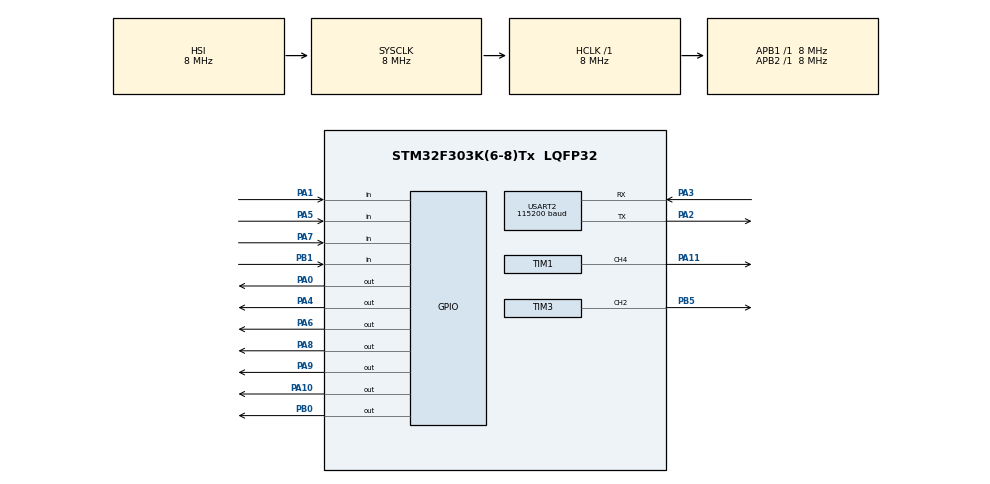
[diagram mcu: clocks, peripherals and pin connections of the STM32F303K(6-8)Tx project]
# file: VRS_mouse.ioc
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Mcu.Family=STM32F3
Mcu.Name=STM32F303K(6-8)Tx
Mcu.Package=LQFP32
NVIC.PriorityGroup=NVIC_PRIORITYGROUP_4
PA0.Signal=GPIO_Output
PA1.Signal=GPIO_Input
PA10.Signal=GPIO_Output
PA11.Signal=S_TIM1_CH4
PA2.Mode=Asynchronous
PA2.Signal=USART2_TX
PA3.Mode=Asynchronous
PA3.Signal=USART2_RX
PA4.Signal=GPIO_Output
PA5.Signal=GPIO_Input
PA6.Signal=GPIO_Output
PA7.Signal=GPIO_Input
PA8.Signal=GPIO_Output
PA9.Signal=GPIO_Output
PB0.Signal=GPIO_Output
PB1.Signal=GPIO_Input
PB5.Signal=S_TIM3_CH2
ProjectManager.HeapSize=0x200
ProjectManager.StackSize=0x400
ProjectManager.TargetToolchain=STM32CubeIDE
RCC.AHBFreq_Value=8000000
RCC.APB1Freq_Value=8000000
RCC.APB2Freq_Value=8000000
RCC.CortexFreq_Value=8000000
RCC.HSE_VALUE=8000000
RCC.HSI_VALUE=8000000
RCC.SYSCLKFreq_VALUE=8000000
SH.S_TIM1_CH4.0=TIM1_CH4,PWM Generation4 CH4
SH.S_TIM3_CH2.0=TIM3_CH2,PWM Generation2 CH2
TIM1.Channel-PWM\ Generation4\ CH4=TIM_CHANNEL_4
TIM1.Period=1999
TIM1.Prescaler=79
TIM3.Channel-PWM\ Generation2\ CH2=TIM_CHANNEL_2
TIM3.Period=1999
TIM3.Prescaler=79
TIM3.Pulse-PWM\ Generation2\ CH2=150
USART2.BaudRate=115200
USART2.VirtualMode-Asynchronous=VM_ASYNC
board=custom

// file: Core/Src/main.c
/* USER CODE BEGIN Header */
/**
  ******************************************************************************
  * @file           : main.c
  * @brief          : Main program body
  ******************************************************************************
  * @attention
  *
  * Copyright (c) 2026 STMicroelectronics.
  * All rights reserved.
  *
  * This software is licensed under terms that can be found in the LICENSE file
  * in the root directory of this software component.
  * If no LICENSE file comes with this software, it is provided AS-IS.
  *
  ******************************************************************************
  */
/* USER CODE END Header */
#include "main.h"
#include "tim.h"
#include "usart.h"
#include "gpio.h"

/* USER CODE BEGIN Includes */
#include <stdio.h>
#include <stdlib.h>
/* USER CODE END Includes */

/* USER CODE BEGIN PTD */
typedef struct {
    GPIO_TypeDef* trig_port;
    uint16_t      trig_pin;
    GPIO_TypeDef* echo_port;
    uint16_t      echo_pin;
} HCSR04_t;
/* USER CODE END PTD */

/* USER CODE BEGIN PD */

#define LEFT_FW 170 // SERVO_CCW
#define LEFT_FW_SLOW 155
#define LEFT_STOP	149
#define LEFT_BW_SLOW 145
#define LEFT_BW 130 // SERVO_CW

#define RIGHT_FW 130
#define RIGHT_FW_SLOW 145
#define RIGHT_STOP 	150
#define RIGHT_BW_SLOW 155
#define RIGHT_BW 170

#define LED_PORT GPIOA
#define LED_PIN_R GPIO_PIN_8
#define LED_PIN_G GPIO_PIN_9
#define LED_PIN_B GPIO_PIN_10
/* USER CODE END PD */

/* USER CODE BEGIN PV */
typedef enum  {
	CAR_WANDER_FW, CAR_WANDER_TURN, CAR_TURNING_LEFT, CAR_TURNING_RIGHT, CAR_ESCAPE
} car_state;

typedef enum {
	ENV_NONE, ENV_OBSTACLE_FRONT, ENV_OBSTACLE_LEFT, ENV_OBSTACLE_RIGHT, ENV_OBSTACLE_BACK
} env_state;
/* USER CODE END PV */

void SystemClock_Config(void);
/* USER CODE BEGIN PFP */
uint32_t hcsr04_measure_cm(HCSR04_t* s);
void motors_stop();
void motors_turn_left();
void motors_turn_right();
void motors_forward_fast();
void motors_forward_slow();
void set_led_rgb(uint8_t r, uint8_t g, uint8_t b);
env_state classify_env(uint32_t *dist);
/* USER CODE END PFP */

/* USER CODE BEGIN 0 */
HCSR04_t sensors[4] = {
//TRIG_PORT, TRIG_PIN, ECHO_PORT, ECHO_PIN
    {GPIOA, GPIO_PIN_0, GPIOA, GPIO_PIN_1}, // Right sensor 1
    {GPIOA, GPIO_PIN_4, GPIOA, GPIO_PIN_5}, // Left sensor 2
    {GPIOA, GPIO_PIN_6, GPIOA, GPIO_PIN_7}, // Front sensor 3
    {GPIOB, GPIO_PIN_0, GPIOB, GPIO_PIN_1}  // Back sensor 4
};
/* USER CODE END 0 */

int main(void)
{

  /* MCU Configuration--------------------------------------------------------*/

  /* Reset of all peripherals, Initializes the Flash interface and the Systick. */
  HAL_Init();

  /* USER CODE BEGIN Init */
  // random seed for wandering behaviour
  srand(HAL_GetTick());
  /* USER CODE END Init */

  /* Configure the system clock */
  SystemClock_Config();

  /* Initialize all configured peripherals */
  MX_GPIO_Init();
  MX_USART2_UART_Init();
  MX_TIM3_Init();
  MX_TIM1_Init();
  /* USER CODE BEGIN 2 */
  HAL_TIM_PWM_Start(&htim1, TIM_CHANNEL_4); // right motor
  HAL_TIM_PWM_Start(&htim3, TIM_CHANNEL_2);// left motor
  if (!(CoreDebug->DEMCR & CoreDebug_DEMCR_TRCENA_Msk))
  	    CoreDebug->DEMCR |= CoreDebug_DEMCR_TRCENA_Msk;
  	DWT->CYCCNT = 0;
  	DWT->CTRL |= DWT_CTRL_CYCCNTENA_Msk;
  printf("UART debug ready!\r\n");

  // stop
  __HAL_TIM_SET_COMPARE(&htim1, TIM_CHANNEL_4, RIGHT_STOP);
  __HAL_TIM_SET_COMPARE(&htim3, TIM_CHANNEL_2, LEFT_STOP);
  HAL_Delay(1000);

  // go forward
  __HAL_TIM_SET_COMPARE(&htim1, TIM_CHANNEL_4, RIGHT_FW);
  __HAL_TIM_SET_COMPARE(&htim3, TIM_CHANNEL_2, LEFT_FW);
  HAL_Delay(2000);

  // stop
  __HAL_TIM_SET_COMPARE(&htim1, TIM_CHANNEL_4, RIGHT_STOP);
  __HAL_TIM_SET_COMPARE(&htim3, TIM_CHANNEL_2, LEFT_STOP);

  // Initialize states
  car_state c_state = CAR_WANDER_FW;
  env_state env = ENV_NONE;

  uint32_t last_wander_tick = HAL_GetTick();
  uint32_t wander_interval = 2000; // 2s
  int wander_direction = 0;        // 0 = Left, 1 = Right
  int obstacle_confidence = 0;

  /* USER CODE END 2 */

  /* Infinite loop */
  /* USER CODE BEGIN WHILE */
  while (1)
  {

	uint32_t dist[4];

	// measure distance from sensors
	for (int i = 0; i < 4; i++)
	{
	  dist[i] = hcsr04_measure_cm(&sensors[i]);
	  printf("Sensor %d: %lu cm\r\n", i + 1, dist[i]); // log to serial port
	  HAL_Delay(5);
	}
	printf("----\r\n");
	//HAL_Delay(100);

	// assign environment state based on measurements
	env_state detected_env = classify_env(dist);
	if (detected_env != ENV_NONE) {
	    obstacle_confidence++;
	} else {
	    obstacle_confidence = 0; // Reset if the path is clear
	}

	if (obstacle_confidence >= 3) { // Only change state if seen 3 times
	    env = detected_env;
	} else {
	    env = ENV_NONE;
	}

	// movement behaviour
	switch (env){
		case ENV_NONE:
			if(c_state == CAR_ESCAPE)
			{
				c_state = CAR_WANDER_FW;
				last_wander_tick = HAL_GetTick();
			}
			if (c_state == CAR_WANDER_FW || c_state == CAR_WANDER_TURN)
			{
				if ((HAL_GetTick() - last_wander_tick) > wander_interval)
				{
					last_wander_tick = HAL_GetTick();

					if (c_state == CAR_WANDER_FW) {
						// Switch to Turning
						c_state = CAR_WANDER_TURN;
						wander_interval = 300 + (rand() % 500);
						wander_direction = rand() % 2;
					}
					else {
						// Switch back to Forward
						c_state = CAR_WANDER_FW;
						wander_interval = 1000 + (rand() % 2000);
					}
				}
			}
			break;
		case ENV_OBSTACLE_FRONT:
			c_state = CAR_TURNING_LEFT;
			break;
		case ENV_OBSTACLE_LEFT:
			c_state = CAR_TURNING_RIGHT;
			break;
		case ENV_OBSTACLE_RIGHT:
			c_state = CAR_TURNING_LEFT;
			break;
		case ENV_OBSTACLE_BACK:
			c_state = CAR_ESCAPE;
			break;
		default:
			motors_stop();
			break;
	}
	// control motors based on the envirnment
	switch (c_state){
		case CAR_TURNING_LEFT:
			motors_turn_left();
			set_led_rgb(1, 1, 0); // yellow for turning
			break;
		case CAR_TURNING_RIGHT:
			motors_turn_right();
			set_led_rgb(1, 1, 0); // yellow
			break;
		case CAR_WANDER_FW:
			motors_forward_slow();
			set_led_rgb(0, 1, 0); // green for wandering
			break;
		case CAR_WANDER_TURN:
			if(wander_direction == 0)
				motors_turn_left();
			else
				motors_turn_right();
			set_led_rgb(0, 0, 1); // blue for turning while wandering
			break;
		case CAR_ESCAPE:
			motors_forward_fast();
			set_led_rgb(1, 0, 0); // red for escaping from obstacle
			break;
		default:
			motors_stop();
			set_led_rgb(0, 0, 0); // off
			break;
	}

    /* USER CODE END WHILE */

  }
}

void SystemClock_Config(void)
{
  RCC_OscInitTypeDef RCC_OscInitStruct = {0};
  RCC_ClkInitTypeDef RCC_ClkInitStruct = {0};
  RCC_PeriphCLKInitTypeDef PeriphClkInit = {0};

  /** Initializes the RCC Oscillators according to the specified parameters
  * in the RCC_OscInitTypeDef structure.
  */
  RCC_OscInitStruct.OscillatorType = RCC_OSCILLATORTYPE_HSI;
  RCC_OscInitStruct.HSIState = RCC_HSI_ON;
  RCC_OscInitStruct.HSICalibrationValue = RCC_HSICALIBRATION_DEFAULT;
  RCC_OscInitStruct.PLL.PLLState = RCC_PLL_NONE;
  if (HAL_RCC_OscConfig(&RCC_OscInitStruct) != HAL_OK)
  {
    Error_Handler();
  }

  /** Initializes the CPU, AHB and APB buses clocks
  */
  RCC_ClkInitStruct.ClockType = RCC_CLOCKTYPE_HCLK|RCC_CLOCKTYPE_SYSCLK
                              |RCC_CLOCKTYPE_PCLK1|RCC_CLOCKTYPE_PCLK2;
  RCC_ClkInitStruct.SYSCLKSource = RCC_SYSCLKSOURCE_HSI;
  RCC_ClkInitStruct.AHBCLKDivider = RCC_SYSCLK_DIV1;
  RCC_ClkInitStruct.APB1CLKDivider = RCC_HCLK_DIV1;
  RCC_ClkInitStruct.APB2CLKDivider = RCC_HCLK_DIV1;

  if (HAL_RCC_ClockConfig(&RCC_ClkInitStruct, FLASH_LATENCY_0) != HAL_OK)
  {
    Error_Handler();
  }
  PeriphClkInit.PeriphClockSelection = RCC_PERIPHCLK_TIM1;
  PeriphClkInit.Tim1ClockSelection = RCC_TIM1CLK_HCLK;
  if (HAL_RCCEx_PeriphCLKConfig(&PeriphClkInit) != HAL_OK)
  {
    Error_Handler();
  }
}

/* USER CODE BEGIN 4 */

int _write(int file, char *ptr, int len)
{
    HAL_UART_Transmit(&huart2, (uint8_t*)ptr, len, HAL_MAX_DELAY);
    return len;
}

uint32_t hcsr04_measure_cm(HCSR04_t* s)
{
    uint32_t start_tick, end_tick;
    uint32_t timeout;

    HAL_GPIO_WritePin(s->trig_port, s->trig_pin, GPIO_PIN_SET);
    DWT->CYCCNT = 0;
    while (DWT->CYCCNT < (SystemCoreClock / 1000000) * 10);
    HAL_GPIO_WritePin(s->trig_port, s->trig_pin, GPIO_PIN_RESET);

    timeout = DWT->CYCCNT;
    while (HAL_GPIO_ReadPin(s->echo_port, s->echo_pin) == GPIO_PIN_RESET)
    {
        if ((DWT->CYCCNT - timeout) > (SystemCoreClock / 40)) // ~25 ms
            return 99;
    }

    start_tick = DWT->CYCCNT;

    while (HAL_GPIO_ReadPin(s->echo_port, s->echo_pin) == GPIO_PIN_SET)
    {
        if ((DWT->CYCCNT - start_tick) > (SystemCoreClock / 40))
            return 21;
    }

    end_tick = DWT->CYCCNT;

    uint32_t pulse_us =
        (end_tick - start_tick) / (SystemCoreClock / 1000000);

    return pulse_us * 34 / 2000;
}

void motors_stop()
{
	__HAL_TIM_SET_COMPARE(&htim1, TIM_CHANNEL_4, RIGHT_STOP); // Right wheel stop
	__HAL_TIM_SET_COMPARE(&htim3, TIM_CHANNEL_2, LEFT_STOP); // Left wheel stop
}

void motors_turn_left()
{
	__HAL_TIM_SET_COMPARE(&htim1, TIM_CHANNEL_4, RIGHT_FW_SLOW); // Right wheel forward
	__HAL_TIM_SET_COMPARE(&htim3, TIM_CHANNEL_2, LEFT_BW_SLOW); // Left wheel backwards
}

void motors_turn_right()
{
	__HAL_TIM_SET_COMPARE(&htim1, TIM_CHANNEL_4, RIGHT_BW_SLOW); // Right wheel backwards
	__HAL_TIM_SET_COMPARE(&htim3, TIM_CHANNEL_2, LEFT_FW_SLOW); // Left wheel forward
}

void motors_forward_fast()
{
	__HAL_TIM_SET_COMPARE(&htim1, TIM_CHANNEL_4, RIGHT_FW); // Right wheel forward
	__HAL_TIM_SET_COMPARE(&htim3, TIM_CHANNEL_2, LEFT_FW); // Left wheel forward
}

void motors_forward_slow()
{
	__HAL_TIM_SET_COMPARE(&htim1, TIM_CHANNEL_4, RIGHT_FW_SLOW); // Right wheel slow forward
	__HAL_TIM_SET_COMPARE(&htim3, TIM_CHANNEL_2, LEFT_FW_SLOW); // Left wheel slow forward
}

env_state classify_env(uint32_t *dist)
{
    if (dist[2] < 20) return ENV_OBSTACLE_FRONT;
    if (dist[3] < 40) return ENV_OBSTACLE_BACK;
    if (dist[0] < 20) return ENV_OBSTACLE_RIGHT;
    if (dist[1] < 20) return ENV_OBSTACLE_LEFT;

    return ENV_NONE;
}

void set_led_rgb(uint8_t r, uint8_t g, uint8_t b)
{
    // 1 = ON, 0 = OFF
    HAL_GPIO_WritePin(LED_PORT, LED_PIN_R, r ? GPIO_PIN_SET : GPIO_PIN_RESET);
    HAL_GPIO_WritePin(LED_PORT, LED_PIN_G, g ? GPIO_PIN_SET : GPIO_PIN_RESET);
    HAL_GPIO_WritePin(LED_PORT, LED_PIN_B, b ? GPIO_PIN_SET : GPIO_PIN_RESET);
}
/* USER CODE END 4 */

void Error_Handler(void)
{
  __disable_irq();
  while (1)
  {
  }
}
